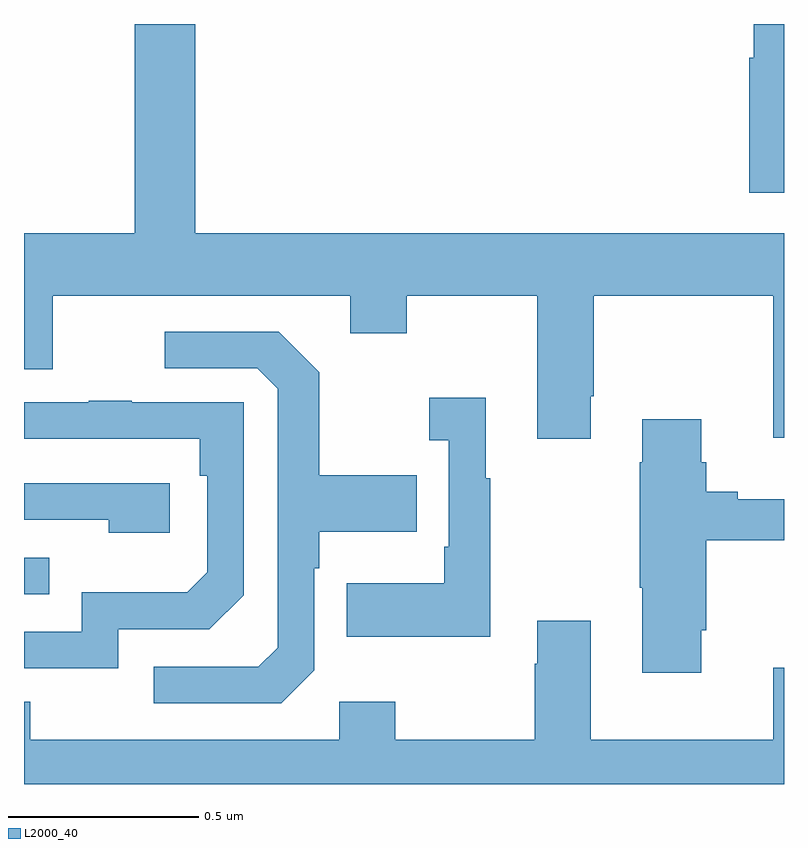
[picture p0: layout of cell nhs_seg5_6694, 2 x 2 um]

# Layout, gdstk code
import gdstk
lib = gdstk.Library(unit=1e-6, precision=1e-09)
def R(c, l, rs):  # rectangles x0, y0, x1, y1
    for r in rs: c.add(gdstk.rectangle(r[:2], r[2:], *l))
def P(c, l, *ps):  # polygons
    for p in ps: c.add(gdstk.Polygon(p, *l))
L2000_40 = (2000, 40)

nhs_seg5_6694 = lib.new_cell('nhs_seg5_6694')
R(nhs_seg5_6694, L2000_40, [(199,865.299,199.067,865.395)])
P(nhs_seg5_6694, L2000_40, [(200.491,865.819),(200.499,865.819),(200.499,866.084),(200.972,866.084),(200.972,865.71),(201,865.71),(201,866.248),(199.451,866.248),(199.451,866.799),(199.291,866.799),(199.291,866.248),(199,866.248),(199,865.89),(199.075,865.89),(199.075,866.084),(199.859,866.084),(199.859,865.985),(200.007,865.985),(200.007,866.084),(200.351,866.084),(200.351,865.707),(200.491,865.707)],
  [(201,866.799),(200.921,866.799),(200.921,866.71),(200.909,866.71),(200.909,866.355),(201,866.355)],
  [(199.764,865.098),(199.764,865.367),(199.777,865.367),(199.777,865.463),(200.033,865.463),(200.033,865.611),(199.777,865.611),(199.777,865.883),(199.671,865.989),(199.371,865.989),(199.371,865.893),(199.614,865.893),(199.668,865.839),(199.668,865.158),(199.617,865.107),(199.341,865.107),(199.341,865.011),(199.677,865.011)],
  [(200.227,865.603),(200.215,865.603),(200.215,865.816),(200.067,865.816),(200.067,865.703),(200.118,865.703),(200.118,865.423),(200.106,865.423),(200.106,865.327),(199.849,865.327),(199.849,865.187),(200.227,865.187)],
  [(199.248,865.206),(199.488,865.206),(199.578,865.296),(199.578,865.803),(199.283,865.803),(199.283,865.808),(199.171,865.808),(199.171,865.803),(199,865.803),(199,865.707),(199.462,865.707),(199.462,865.61),(199.482,865.61),(199.482,865.356),(199.429,865.303),(199.152,865.303),(199.152,865.2),(199,865.2),(199,865.104),(199.248,865.104)],
  [(200.782,865.204),(200.795,865.204),(200.795,865.44),(201,865.44),(201,865.549),(200.878,865.549),(200.878,865.568),(200.795,865.568),(200.795,865.646),(200.782,865.646),(200.782,865.759),(200.627,865.759),(200.627,865.646),(200.62,865.646),(200.62,865.315),(200.627,865.315),(200.627,865.092),(200.782,865.092)],
  [(199.384,865.59),(199,865.59),(199,865.494),(199.223,865.494),(199.223,865.46),(199.384,865.46)],
  [(201,865.105),(200.972,865.105),(200.972,864.916),(200.491,864.916),(200.491,865.228),(200.351,865.228),(200.351,865.115),(200.344,865.115),(200.344,864.916),(199.977,864.916),(199.977,865.015),(199.83,865.015),(199.83,864.916),(199.017,864.916),(199.017,865.015),(199,865.015),(199,864.799),(201,864.799)])

lib.write_gds('nhs_seg5_6694.gds')
